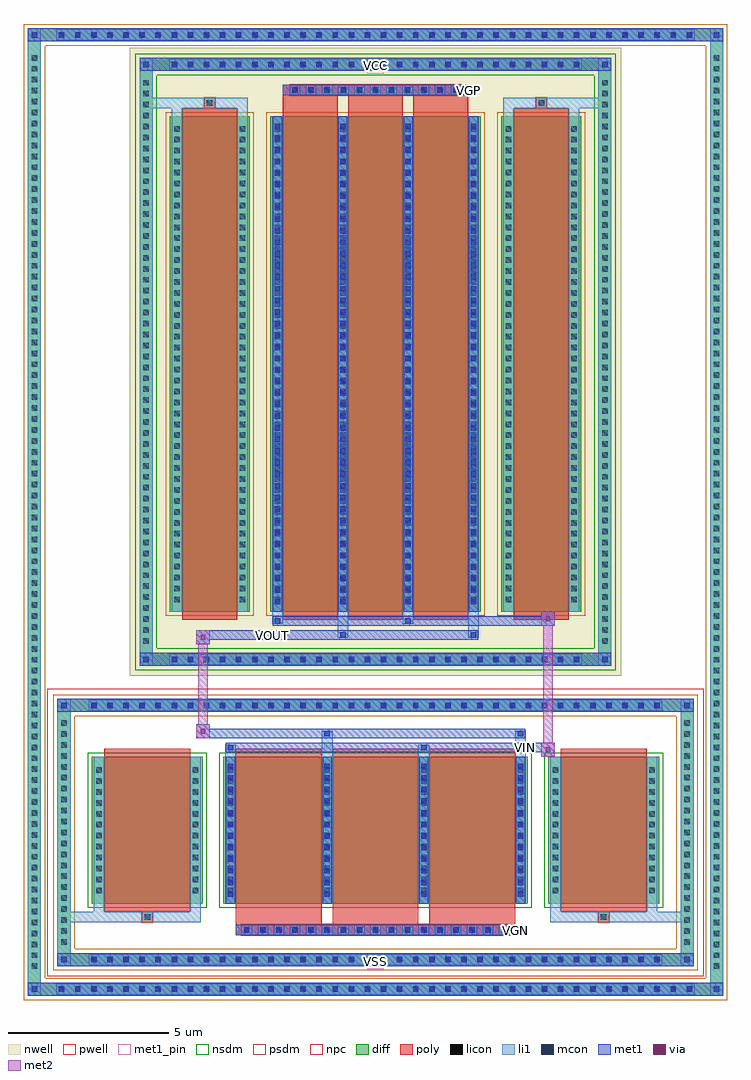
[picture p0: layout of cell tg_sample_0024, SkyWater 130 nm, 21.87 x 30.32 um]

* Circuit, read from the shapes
.subckt tg_sample_0024 VCC VGN VGP VIN VOUT VSS
XM1 VSS VSS VSS VSUBS sky130_fd_pr__nfet_01v8 w=4.56 l=2.67 m=2
XM2 VOUT VGN VIN VSUBS sky130_fd_pr__nfet_01v8 w=4.56 l=2.67 m=3
XM3 VCC VCC VCC n1 sky130_fd_pr__pfet_01v8 w=15.39 l=1.7 m=2
XM4 VOUT VGP VIN n1 sky130_fd_pr__pfet_01v8 w=15.39 l=1.7 m=3
.ends

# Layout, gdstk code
import gdstk
lib = gdstk.Library(unit=1e-6, precision=5e-09)
def R(c, l, rs):  # rectangles x0, y0, x1, y1
    for r in rs: c.add(gdstk.rectangle(r[:2], r[2:], *l))
def A(c, l, x, y, w, h, nx, ny, dx, dy):  # array of equal rectangles
    R(c, l, [(x+i*dx, y+j*dy, x+i*dx+w, y+j*dy+h) for i in range(nx) for j in range(ny)])
def P(c, l, *ps):  # polygons
    for p in ps: c.add(gdstk.Polygon(p, *l))
nwell = (64, 20)
pwell = (64, 44)
diff = (65, 20)
poly = (66, 20)
licon = (66, 44)
li1 = (67, 20)
mcon = (67, 44)
met1_pin = (68, 16)
met1 = (68, 20)
via = (68, 44)
met2 = (69, 20)
nsdm = (93, 44)
psdm = (94, 20)
npc = (95, 20)

tg_sample_0024 = lib.new_cell('tg_sample_0024')
R(tg_sample_0024, nwell, [(-7.64,4.865,7.64,24.375)])
R(tg_sample_0024, pwell, [(-10.195,-4.465,10.195,4.465)])
A(tg_sample_0024, diff, -9.955, -5.075, 0.41, 0.41, 40, 2, 0.5, 29.65)
A(tg_sample_0024, diff, -10.805, -4.36, 0.41, 0.41, 1, 84, 0, 0.34)
A(tg_sample_0024, diff, 10.395, -4.36, 0.41, 0.41, 1, 84, 0, 0.34)
A(tg_sample_0024, diff, -8.955, -4.155, 0.41, 0.41, 36, 2, 0.5, 7.9)
A(tg_sample_0024, diff, -9.885, -3.605, 0.41, 0.41, 1, 21, 0, 0.34)
A(tg_sample_0024, diff, 9.475, -3.605, 0.41, 0.41, 1, 21, 0, 0.34)
A(tg_sample_0024, diff, -6.455, 5.175, 0.41, 0.41, 26, 2, 0.5, 18.48)
A(tg_sample_0024, diff, -7.33, 5.745, 0.41, 0.41, 1, 52, 0, 0.34)
A(tg_sample_0024, diff, 6.92, 5.745, 0.41, 0.41, 1, 52, 0, 0.34)
R(tg_sample_0024, diff, [(-9.955,-5.075,9.955,-4.665), (-10.805,-4.36,-10.395,24.27), (10.395,-4.36,10.805,24.27), (-8.955,-4.155,8.955,-3.745), (-9.885,-3.605,-9.475,3.605), (9.475,-3.605,9.885,3.605), (-8.815,-2.21,-5.365,2.35), (-4.725,-2.21,4.725,2.35), (5.365,-2.21,8.815,2.35), (-8.955,3.745,8.955,4.155), (-6.455,5.175,6.455,5.585), (-7.33,5.745,-6.92,23.495), (6.92,5.745,7.33,23.495), (-6.39,6.855,-3.91,22.245), (-3.27,6.855,3.27,22.245), (3.91,6.855,6.39,22.245), (-6.455,23.655,6.455,24.065), (-9.955,24.575,9.955,24.985)])
P(tg_sample_0024, diff, [(9.885,4.155),(-9.885,4.155),(-9.885,-3.745),(-9.475,-3.745),(-9.475,3.745),(9.475,3.745),(9.475,-3.745),(-9.475,-3.745),(-9.885,-3.745),(-9.885,-4.155),(9.885,-4.155)],
  [(10.805,24.985),(-10.805,24.985),(-10.805,-4.665),(-10.395,-4.665),(-10.395,24.575),(10.395,24.575),(10.395,-4.665),(-10.395,-4.665),(-10.805,-4.665),(-10.805,-5.075),(10.805,-5.075)],
  [(7.33,5.175),(-7.33,5.175),(-7.33,23.655),(-6.92,23.655),(-6.92,5.585),(6.92,5.585),(6.92,23.655),(-6.92,23.655),(-7.33,23.655),(-7.33,24.065),(7.33,24.065)])
A(tg_sample_0024, poly, -4.165, -3.19, 0.33, 0.33, 17, 1, 0.5, 0)
A(tg_sample_0024, poly, -4.335, -2.86, 2.67, 0.4, 3, 1, 3, 0)
A(tg_sample_0024, poly, -4.335, -2.46, 2.67, 5.06, 3, 1, 3, 0)
A(tg_sample_0024, poly, -2.88, 6.605, 1.7, 15.89, 3, 1, 2.03, 0)
A(tg_sample_0024, poly, -2.88, 22.495, 1.7, 0.405, 3, 1, 2.03, 0)
A(tg_sample_0024, poly, -2.665, 22.9, 0.33, 0.33, 11, 1, 0.5, 0)
R(tg_sample_0024, poly, [(-4.335,-3.19,4.335,-2.86), (-7.255,-2.79,-6.925,-2.46), (-7.255,-2.79,-6.925,-2.46), (6.925,-2.79,7.255,-2.46), (6.925,-2.79,7.255,-2.46), (-8.425,-2.46,-5.755,2.6), (5.755,-2.46,8.425,2.6), (-6,6.605,-4.3,22.495), (4.3,6.605,6,22.495), (-5.315,22.495,-4.985,22.825), (-5.315,22.495,-4.985,22.825), (4.985,22.495,5.315,22.825), (4.985,22.495,5.315,22.825), (-2.88,22.9,2.88,23.23)])
A(tg_sample_0024, licon, -9.835, -4.955, 0.17, 0.17, 40, 2, 0.5, 29.65)
A(tg_sample_0024, licon, -10.685, -4.24, 0.17, 0.17, 1, 84, 0, 0.34)
A(tg_sample_0024, licon, 10.515, -4.24, 0.17, 0.17, 1, 84, 0, 0.34)
A(tg_sample_0024, licon, -8.835, -4.035, 0.17, 0.17, 36, 2, 0.5, 7.9)
A(tg_sample_0024, licon, -9.765, -3.485, 0.17, 0.17, 1, 21, 0, 0.34)
A(tg_sample_0024, licon, 9.595, -3.485, 0.17, 0.17, 1, 21, 0, 0.34)
A(tg_sample_0024, licon, -4.085, -3.11, 0.17, 0.17, 17, 1, 0.5, 0)
A(tg_sample_0024, licon, -8.675, -1.885, 0.17, 0.17, 1, 12, 0, 0.34)
A(tg_sample_0024, licon, -5.675, -1.885, 0.17, 0.17, 1, 12, 0, 0.34)
A(tg_sample_0024, licon, -4.585, -1.885, 0.17, 0.17, 4, 12, 3, 0.34)
A(tg_sample_0024, licon, 5.505, -1.885, 0.17, 0.17, 1, 12, 0, 0.34)
A(tg_sample_0024, licon, 8.505, -1.885, 0.17, 0.17, 1, 12, 0, 0.34)
A(tg_sample_0024, licon, -6.335, 5.295, 0.17, 0.17, 26, 2, 0.5, 18.48)
A(tg_sample_0024, licon, -7.21, 5.865, 0.17, 0.17, 1, 52, 0, 0.34)
A(tg_sample_0024, licon, 7.04, 5.865, 0.17, 0.17, 1, 52, 0, 0.34)
A(tg_sample_0024, licon, -6.25, 7.155, 0.17, 0.17, 1, 44, 0, 0.34)
A(tg_sample_0024, licon, -4.22, 7.155, 0.17, 0.17, 1, 44, 0, 0.34)
A(tg_sample_0024, licon, -3.13, 7.155, 0.17, 0.17, 4, 44, 2.03, 0.34)
A(tg_sample_0024, licon, 4.05, 7.155, 0.17, 0.17, 1, 44, 0, 0.34)
A(tg_sample_0024, licon, 6.08, 7.155, 0.17, 0.17, 1, 44, 0, 0.34)
A(tg_sample_0024, licon, -2.585, 22.98, 0.17, 0.17, 11, 1, 0.5, 0)
R(tg_sample_0024, licon, [(-7.175,-2.71,-7.005,-2.54), (7.005,-2.71,7.175,-2.54), (-5.235,22.575,-5.065,22.745), (5.065,22.575,5.235,22.745)])
A(tg_sample_0024, li1, -9.915, -5.035, 0.33, 0.33, 40, 2, 0.5, 29.65)
A(tg_sample_0024, li1, -10.765, -4.32, 0.33, 0.33, 1, 84, 0, 0.34)
A(tg_sample_0024, li1, 10.435, -4.32, 0.33, 0.33, 1, 84, 0, 0.34)
A(tg_sample_0024, li1, -8.915, -4.115, 0.33, 0.33, 36, 2, 0.5, 7.9)
A(tg_sample_0024, li1, -9.845, -3.565, 0.33, 0.33, 1, 21, 0, 0.34)
A(tg_sample_0024, li1, 9.515, -3.565, 0.33, 0.33, 1, 21, 0, 0.34)
A(tg_sample_0024, li1, -4.165, -3.19, 0.33, 0.33, 17, 1, 0.5, 0)
A(tg_sample_0024, li1, -4.665, -2.21, 0.33, 4.56, 4, 1, 3, 0)
A(tg_sample_0024, li1, -4.585, -1.995, 0.17, 0.17, 4, 12, 3, 0.36)
A(tg_sample_0024, li1, -4.585, -1.995, 0.17, 4.13, 4, 1, 3, 0)
A(tg_sample_0024, li1, -8.755, -1.965, 0.33, 0.33, 1, 12, 0, 0.34)
A(tg_sample_0024, li1, -5.755, -1.965, 0.33, 0.33, 1, 12, 0, 0.34)
A(tg_sample_0024, li1, -4.665, -1.965, 0.33, 0.33, 4, 12, 3, 0.34)
A(tg_sample_0024, li1, 5.425, -1.965, 0.33, 0.33, 1, 12, 0, 0.34)
A(tg_sample_0024, li1, 8.425, -1.965, 0.33, 0.33, 1, 12, 0, 0.34)
A(tg_sample_0024, li1, -6.415, 5.215, 0.33, 0.33, 26, 2, 0.5, 18.48)
A(tg_sample_0024, li1, -7.29, 5.785, 0.33, 0.33, 1, 52, 0, 0.34)
A(tg_sample_0024, li1, 6.96, 5.785, 0.33, 0.33, 1, 52, 0, 0.34)
A(tg_sample_0024, li1, -3.21, 6.855, 0.33, 15.39, 4, 1, 2.03, 0)
A(tg_sample_0024, li1, -6.33, 7.075, 0.33, 0.33, 1, 44, 0, 0.34)
A(tg_sample_0024, li1, -4.3, 7.075, 0.33, 0.33, 1, 44, 0, 0.34)
A(tg_sample_0024, li1, -3.21, 7.075, 0.33, 0.33, 4, 44, 2.03, 0.34)
A(tg_sample_0024, li1, 3.97, 7.075, 0.33, 0.33, 1, 44, 0, 0.34)
A(tg_sample_0024, li1, 6, 7.075, 0.33, 0.33, 1, 44, 0, 0.34)
A(tg_sample_0024, li1, -3.13, 7.085, 0.17, 0.17, 4, 42, 2.03, 0.36)
A(tg_sample_0024, li1, -3.13, 7.085, 0.17, 14.93, 4, 1, 2.03, 0)
A(tg_sample_0024, li1, -2.665, 22.9, 0.33, 0.33, 11, 1, 0.5, 0)
R(tg_sample_0024, li1, [(-10.805,-5.075,-10.395,-4.665), (10.395,-5.075,10.805,-4.665), (-9.915,-5.035,9.915,-4.705), (-10.685,-4.955,-10.515,-4.785), (-10.685,-4.955,-10.515,-4.785), (10.515,-4.955,10.685,-4.785), (10.515,-4.955,10.685,-4.785), (-10.805,-4.665,-10.395,24.575), (10.395,-4.665,10.805,24.575), (-9.885,-4.155,-9.475,-3.745), (9.475,-4.155,9.885,-3.745), (-8.915,-4.115,8.915,-3.785), (-9.765,-4.035,-9.595,-3.865), (-9.765,-4.035,-9.595,-3.865), (9.595,-4.035,9.765,-3.865), (9.595,-4.035,9.765,-3.865), (-9.885,-3.745,-9.475,3.745), (9.475,-3.745,9.885,3.745), (-9.885,-2.79,-7.255,-2.46), (-8.755,-2.79,-7.255,-2.46), (-8.755,-2.79,-8.425,-2.21), (-7.255,-2.79,-6.925,-2.46), (-6.925,-2.79,-5.425,-2.46), (-5.755,-2.79,-5.425,-2.21), (5.425,-2.79,6.925,-2.46), (5.425,-2.79,5.755,-2.21), (6.925,-2.79,7.255,-2.46), (6.925,-2.79,9.885,-2.46), (7.255,-2.79,8.755,-2.46), (8.425,-2.79,8.755,-2.21), (-8.755,-2.21,-8.425,2.35), (-5.755,-2.21,-5.425,2.35), (5.425,-2.21,5.755,2.35), (8.425,-2.21,8.755,2.35), (-4.665,2.35,-4.335,2.725), (-1.665,2.35,-1.335,3.155), (1.335,2.35,1.665,2.725), (4.335,2.35,4.665,3.155), (-4.585,2.555,-4.415,2.725), (1.415,2.555,1.585,2.725), (-1.585,2.985,-1.415,3.155), (4.415,2.985,4.585,3.155), (-9.885,3.745,-9.475,4.155), (9.475,3.745,9.885,4.155), (-8.915,3.785,8.915,4.115), (-9.765,3.865,-9.595,4.035), (-9.765,3.865,-9.595,4.035), (9.595,3.865,9.765,4.035), (9.595,3.865,9.765,4.035), (-7.33,5.175,-6.92,5.585), (6.92,5.175,7.33,5.585), (-6.415,5.215,6.415,5.545), (-7.21,5.295,-7.04,5.465), (-7.21,5.295,-7.04,5.465), (7.04,5.295,7.21,5.465), (7.04,5.295,7.21,5.465), (-7.33,5.585,-6.92,23.655), (6.92,5.585,7.33,23.655), (-1.18,6.05,-0.85,6.855), (-1.1,6.05,-0.93,6.22), (2.88,6.05,3.21,6.855), (2.96,6.05,3.13,6.22), (-3.21,6.48,-2.88,6.855), (-3.13,6.48,-2.96,6.65), (0.85,6.48,1.18,6.855), (0.93,6.48,1.1,6.65), (-6.33,6.855,-6,22.245), (-4.3,6.855,-3.97,22.245), (3.97,6.855,4.3,22.245), (6,6.855,6.33,22.245), (-6.33,22.245,-6,22.825), (-4.3,22.245,-3.97,22.825), (3.97,22.245,4.3,22.825), (6,22.245,6.33,22.825), (-7.33,22.495,-5.315,22.825), (-6.33,22.495,-5.315,22.825), (-5.315,22.495,-4.985,22.825), (-4.985,22.495,-3.97,22.825), (3.97,22.495,4.985,22.825), (4.985,22.495,5.315,22.825), (4.985,22.495,7.33,22.825), (5.315,22.495,6.33,22.825), (-7.33,23.655,-6.92,24.065), (6.92,23.655,7.33,24.065), (-6.415,23.695,6.415,24.025), (-7.21,23.775,-7.04,23.945), (-7.21,23.775,-7.04,23.945), (7.04,23.775,7.21,23.945), (7.04,23.775,7.21,23.945), (-10.805,24.575,-10.395,24.985), (10.395,24.575,10.805,24.985), (-9.915,24.615,9.915,24.945), (-10.685,24.695,-10.515,24.865), (-10.685,24.695,-10.515,24.865), (10.515,24.695,10.685,24.865), (10.515,24.695,10.685,24.865)])
A(tg_sample_0024, mcon, -9.835, -4.955, 0.17, 0.17, 40, 2, 0.5, 29.65)
A(tg_sample_0024, mcon, -8.835, -4.035, 0.17, 0.17, 36, 2, 0.5, 7.9)
A(tg_sample_0024, mcon, -4.085, -3.11, 0.17, 0.17, 17, 1, 0.5, 0)
A(tg_sample_0024, mcon, -4.585, -1.995, 0.17, 0.17, 4, 12, 3, 0.36)
A(tg_sample_0024, mcon, -6.335, 5.295, 0.17, 0.17, 26, 2, 0.5, 18.48)
A(tg_sample_0024, mcon, -3.13, 7.085, 0.17, 0.17, 4, 42, 2.03, 0.36)
A(tg_sample_0024, mcon, -2.585, 22.98, 0.17, 0.17, 11, 1, 0.5, 0)
R(tg_sample_0024, mcon, [(-10.685,-4.955,-10.515,-4.785), (10.515,-4.955,10.685,-4.785), (-9.765,-4.035,-9.595,-3.865), (9.595,-4.035,9.765,-3.865), (-4.585,2.555,-4.415,2.725), (1.415,2.555,1.585,2.725), (-1.585,2.985,-1.415,3.155), (4.415,2.985,4.585,3.155), (-9.765,3.865,-9.595,4.035), (9.595,3.865,9.765,4.035), (-7.21,5.295,-7.04,5.465), (7.04,5.295,7.21,5.465), (-1.1,6.05,-0.93,6.22), (2.96,6.05,3.13,6.22), (-3.13,6.48,-2.96,6.65), (0.93,6.48,1.1,6.65), (-7.21,23.775,-7.04,23.945), (7.04,23.775,7.21,23.945), (-10.685,24.695,-10.515,24.865), (10.515,24.695,10.685,24.865)])
R(tg_sample_0024, met1_pin, [(-0.25,-4.245,0.25,-3.745), (4.2,-3.19,4.47,-2.92), (4.51,2.495,4.78,2.765), (-3.325,5.99,-3.055,6.26), (2.745,22.9,3.015,23.17), (-0.25,23.565,0.25,24.065)])
A(tg_sample_0024, met1, -9.895, -5.015, 0.29, 0.29, 40, 2, 0.5, 29.65)
A(tg_sample_0024, met1, -8.895, -4.095, 0.29, 0.29, 36, 2, 0.5, 7.9)
A(tg_sample_0024, met1, -4.145, -3.17, 0.29, 0.29, 17, 1, 0.5, 0)
A(tg_sample_0024, met1, -4.645, -2.21, 0.29, 4.56, 4, 1, 3, 0)
A(tg_sample_0024, met1, -4.645, -2.055, 0.29, 0.29, 4, 12, 3, 0.36)
A(tg_sample_0024, met1, -6.395, 5.235, 0.29, 0.29, 26, 2, 0.5, 18.48)
A(tg_sample_0024, met1, -3.19, 6.855, 0.29, 15.39, 4, 1, 2.03, 0)
A(tg_sample_0024, met1, -3.19, 7.025, 0.29, 0.29, 4, 42, 2.03, 0.36)
A(tg_sample_0024, met1, -2.645, 22.92, 0.29, 0.29, 11, 1, 0.5, 0)
R(tg_sample_0024, met1, [(-10.805,-5.075,-10.395,-4.665), (-10.805,-5.075,-10.395,-4.665), (-10.395,-5.075,10.395,-4.665), (10.395,-5.075,10.805,-4.665), (10.395,-5.075,10.805,-4.665), (-10.745,-5.015,-10.455,-4.725), (10.455,-5.015,10.745,-4.725), (-9.885,-4.155,-9.475,-3.745), (-9.885,-4.155,-9.475,-3.745), (-9.475,-4.155,9.475,-3.745), (9.475,-4.155,9.885,-3.745), (9.475,-4.155,9.885,-3.745), (-9.825,-4.095,-9.535,-3.805), (9.535,-4.095,9.825,-3.805), (-4.335,-3.19,4.335,-2.86), (5.145,2.355,5.575,2.785), (-4.645,2.495,-4.355,2.785), (-4.645,2.495,4.645,2.785), (1.355,2.495,1.645,2.785), (4.645,2.495,5.575,2.785), (-5.575,2.925,-4.645,3.215), (-5.575,2.925,-5.145,3.355), (-4.645,2.925,4.645,3.215), (-1.645,2.925,-1.355,3.215), (4.355,2.925,4.645,3.215), (-9.885,3.745,-9.475,4.155), (-9.885,3.745,-9.475,4.155), (-9.475,3.745,9.475,4.155), (9.475,3.745,9.885,4.155), (9.475,3.745,9.885,4.155), (-9.825,3.805,-9.535,4.095), (9.535,3.805,9.825,4.095), (-7.33,5.175,-6.92,5.585), (-7.33,5.175,-6.92,5.585), (-6.92,5.175,6.92,5.585), (6.92,5.175,7.33,5.585), (6.92,5.175,7.33,5.585), (-7.27,5.235,-6.98,5.525), (6.98,5.235,7.27,5.525), (-5.575,5.85,-5.145,6.28), (-5.575,5.99,-3.19,6.28), (-3.19,5.99,3.19,6.28), (-1.16,5.99,-0.87,6.28), (2.9,5.99,3.19,6.28), (-3.19,6.42,-2.9,6.71), (-3.19,6.42,3.19,6.71), (0.87,6.42,1.16,6.71), (3.19,6.42,5.575,6.71), (5.145,6.42,5.575,6.85), (-2.88,22.9,2.88,23.23), (-7.33,23.655,-6.92,24.065), (-7.33,23.655,-6.92,24.065), (-6.92,23.655,6.92,24.065), (6.92,23.655,7.33,24.065), (6.92,23.655,7.33,24.065), (-7.27,23.715,-6.98,24.005), (6.98,23.715,7.27,24.005), (-10.805,24.575,-10.395,24.985), (-10.805,24.575,-10.395,24.985), (-10.395,24.575,10.395,24.985), (10.395,24.575,10.805,24.985), (10.395,24.575,10.805,24.985), (-10.745,24.635,-10.455,24.925), (10.455,24.635,10.745,24.925)])
R(tg_sample_0024, via, [(5.285,2.495,5.435,2.645), (-5.435,3.065,-5.285,3.215), (-5.435,5.99,-5.285,6.14), (5.285,6.56,5.435,6.71)])
R(tg_sample_0024, met2, [(5.145,2.355,5.575,2.785), (5.215,2.355,5.505,6.85), (5.505,2.355,5.575,2.785), (5.195,2.405,5.525,2.735), (-5.575,2.925,-5.145,3.355), (-5.505,2.925,-5.215,6.28), (-5.215,2.925,-5.145,3.355), (-5.525,2.975,-5.195,3.305), (-5.575,5.85,-5.145,6.28), (-5.215,5.85,-5.145,6.28), (-5.525,5.9,-5.195,6.23), (5.145,6.42,5.575,6.85), (5.505,6.42,5.575,6.85), (5.195,6.47,5.525,6.8)])
R(tg_sample_0024, nsdm, [(-8.945,-2.34,-5.235,2.48), (-4.855,-2.34,4.855,2.48), (5.235,-2.34,8.945,2.48)])
P(tg_sample_0024, nsdm, [(7.46,5.045),(-7.46,5.045),(-7.46,23.525),(-6.79,23.525),(-6.79,5.715),(6.79,5.715),(6.79,23.525),(-6.79,23.525),(-7.46,23.525),(-7.46,24.195),(7.46,24.195)])
R(tg_sample_0024, psdm, [(-6.52,6.725,-3.78,22.375), (-3.4,6.725,3.4,22.375), (3.78,6.725,6.52,22.375)])
P(tg_sample_0024, psdm, [(10.015,4.285),(-10.015,4.285),(-10.015,-3.615),(-9.345,-3.615),(-9.345,3.615),(9.345,3.615),(9.345,-3.615),(-9.345,-3.615),(-10.015,-3.615),(-10.015,-4.285),(10.015,-4.285)],
  [(10.935,25.115),(-10.935,25.115),(-10.935,-4.535),(-10.265,-4.535),(-10.265,24.445),(10.265,24.445),(10.265,-4.535),(-10.265,-4.535),(-10.935,-4.535),(-10.935,-5.205),(10.935,-5.205)])
A(tg_sample_0024, npc, -4.185, -3.21, 0.37, 0.37, 17, 1, 0.5, 0)
A(tg_sample_0024, npc, -2.685, 22.88, 0.37, 0.37, 11, 1, 0.5, 0)
R(tg_sample_0024, npc, [(-4.185,-3.21,-3.315,-2.84), (-4.185,-3.21,-3.315,-2.84), (-3.685,-3.21,-2.815,-2.84), (-3.685,-3.21,-2.815,-2.84), (-3.185,-3.21,-2.315,-2.84), (-3.185,-3.21,-2.315,-2.84), (-2.685,-3.21,-1.815,-2.84), (-2.685,-3.21,-1.815,-2.84), (-2.185,-3.21,-1.315,-2.84), (-2.185,-3.21,-1.315,-2.84), (-1.685,-3.21,-0.815,-2.84), (-1.685,-3.21,-0.815,-2.84), (-1.185,-3.21,-0.315,-2.84), (-1.185,-3.21,-0.315,-2.84), (-0.685,-3.21,0.185,-2.84), (-0.685,-3.21,0.185,-2.84), (-0.185,-3.21,0.685,-2.84), (-0.185,-3.21,0.685,-2.84), (0.315,-3.21,1.185,-2.84), (0.315,-3.21,1.185,-2.84), (0.815,-3.21,1.685,-2.84), (0.815,-3.21,1.685,-2.84), (1.315,-3.21,2.185,-2.84), (1.315,-3.21,2.185,-2.84), (1.815,-3.21,2.685,-2.84), (1.815,-3.21,2.685,-2.84), (2.315,-3.21,3.185,-2.84), (2.315,-3.21,3.185,-2.84), (2.815,-3.21,3.685,-2.84), (2.815,-3.21,3.685,-2.84), (3.315,-3.21,4.185,-2.84), (3.315,-3.21,4.185,-2.84), (-7.275,-2.81,-6.905,-2.44), (6.905,-2.81,7.275,-2.44), (-5.335,22.475,-4.965,22.845), (4.965,22.475,5.335,22.845), (-2.685,22.88,-1.815,23.25), (-2.685,22.88,-1.815,23.25), (-2.185,22.88,-1.315,23.25), (-2.185,22.88,-1.315,23.25), (-1.685,22.88,-0.815,23.25), (-1.685,22.88,-0.815,23.25), (-1.185,22.88,-0.315,23.25), (-1.185,22.88,-0.315,23.25), (-0.685,22.88,0.185,23.25), (-0.685,22.88,0.185,23.25), (-0.185,22.88,0.685,23.25), (-0.185,22.88,0.685,23.25), (0.315,22.88,1.185,23.25), (0.315,22.88,1.185,23.25), (0.815,22.88,1.685,23.25), (0.815,22.88,1.685,23.25), (1.315,22.88,2.185,23.25), (1.315,22.88,2.185,23.25), (1.815,22.88,2.685,23.25), (1.815,22.88,2.685,23.25)])
tg_sample_0024.add(gdstk.Label('VIN', (4.645,2.63), layer=68, texttype=5))
tg_sample_0024.add(gdstk.Label('VGN', (4.335,-3.055), layer=68, texttype=5))
tg_sample_0024.add(gdstk.Label('VGP', (2.88,23.035), layer=68, texttype=5))
tg_sample_0024.add(gdstk.Label('VSS', (0,-3.995), layer=68, texttype=5))
tg_sample_0024.add(gdstk.Label('VCC', (0,23.815), layer=68, texttype=5))
tg_sample_0024.add(gdstk.Label('VOUT', (-3.19,6.125), layer=68, texttype=5))

lib.write_gds('tg_sample_0024.gds')
